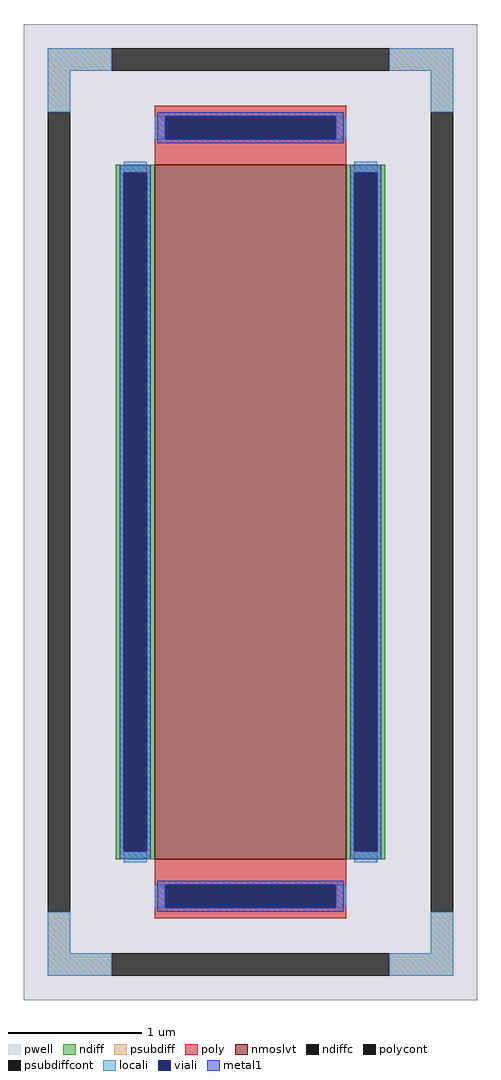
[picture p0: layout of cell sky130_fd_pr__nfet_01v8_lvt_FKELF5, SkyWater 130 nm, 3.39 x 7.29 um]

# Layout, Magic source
magic
tech sky130A
magscale 1 2
<< pwell >>
rect -339 -729 339 729
<< nmoslvt >>
rect -143 -519 143 519
<< ndiff >>
rect -201 507 -143 519
rect -201 -507 -189 507
rect -155 -507 -143 507
rect -201 -519 -143 -507
rect 143 507 201 519
rect 143 -507 155 507
rect 189 -507 201 507
rect 143 -519 201 -507
<< ndiffc >>
rect -189 -507 -155 507
rect 155 -507 189 507
<< psubdiff >>
rect -303 659 -207 693
rect 207 659 303 693
rect -303 597 -269 659
rect 269 597 303 659
rect -303 -659 -269 -597
rect 269 -659 303 -597
rect -303 -693 -207 -659
rect 207 -693 303 -659
<< psubdiffcont >>
rect -207 659 207 693
rect -303 -597 -269 597
rect 269 -597 303 597
rect -207 -693 207 -659
<< poly >>
rect -143 591 143 607
rect -143 557 -127 591
rect 127 557 143 591
rect -143 519 143 557
rect -143 -557 143 -519
rect -143 -591 -127 -557
rect 127 -591 143 -557
rect -143 -607 143 -591
<< polycont >>
rect -127 557 127 591
rect -127 -591 127 -557
<< locali >>
rect -303 659 -207 693
rect 207 659 303 693
rect -303 597 -269 659
rect 269 597 303 659
rect -143 557 -127 591
rect 127 557 143 591
rect -189 507 -155 523
rect -189 -523 -155 -507
rect 155 507 189 523
rect 155 -523 189 -507
rect -143 -591 -127 -557
rect 127 -591 143 -557
rect -303 -659 -269 -597
rect 269 -659 303 -597
rect -303 -693 -207 -659
rect 207 -693 303 -659
<< viali >>
rect -127 557 127 591
rect -189 -507 -155 507
rect 155 -507 189 507
rect -127 -591 127 -557
<< metal1 >>
rect -139 591 139 597
rect -139 557 -127 591
rect 127 557 139 591
rect -139 551 139 557
rect -195 507 -149 519
rect -195 -507 -189 507
rect -155 -507 -149 507
rect -195 -519 -149 -507
rect 149 507 195 519
rect 149 -507 155 507
rect 189 -507 195 507
rect 149 -519 195 -507
rect -139 -557 139 -551
rect -139 -591 -127 -557
rect 127 -591 139 -557
rect -139 -597 139 -591
<< properties >>
string FIXED_BBOX -286 -676 286 676
string gencell sky130_fd_pr__nfet_01v8_lvt
string library sky130
string parameters w 5.19 l 1.43 m 1 nf 1 diffcov 100 polycov 100 guard 1 glc 1 grc 1 gtc 1 gbc 1 tbcov 100 rlcov 100 topc 1 botc 1 poverlap 0 doverlap 1 lmin 0.15 wmin 0.42 compatible {sky130_fd_pr__nfet_01v8 sky130_fd_pr__nfet_01v8_lvt  sky130_fd_bs_flash__special_sonosfet_star  sky130_fd_pr__nfet_g5v0d10v5 sky130_fd_pr__nfet_05v0_nvt  sky130_fd_pr__nfet_03v3_nvt} full_metal 1 viasrc 100 viadrn 100 viagate 100 viagb 0 viagr 0 viagl 0 viagt 0
<< end >>
